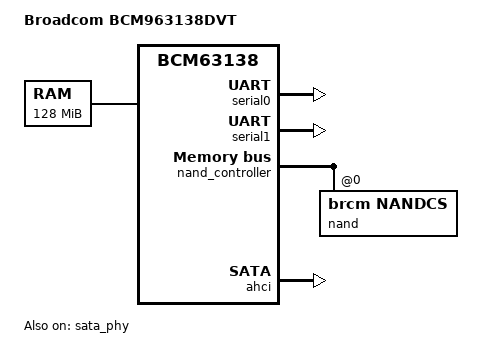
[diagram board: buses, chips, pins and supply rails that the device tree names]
// SPDX-License-Identifier: GPL-2.0
/*
 * Broadcom BCM63138 Reference Board DTS
 */

/dts-v1/;

#include "bcm63138.dtsi"

/ {
	compatible = "brcm,BCM963138DVT", "brcm,bcm63138", "brcm,bcmbca";
	model = "Broadcom BCM963138DVT";

	chosen {
		bootargs = "console=ttyS0,115200";
		stdout-path = &serial0;
	};

	memory@0 {
		device_type = "memory";
		reg = <0x0 0x08000000>;
	};

};

&serial0 {
	status = "okay";
};

&serial1 {
	status = "okay";
};

&nand_controller {
	status = "okay";

	nand@0 {
		compatible = "brcm,nandcs";
		reg = <0>;
		nand-ecc-strength = <4>;
		nand-ecc-step-size = <512>;
		brcm,nand-oob-sectors-size = <16>;
	};
};

&ahci {
	status = "okay";
};

&sata_phy {
	status = "okay";
};
